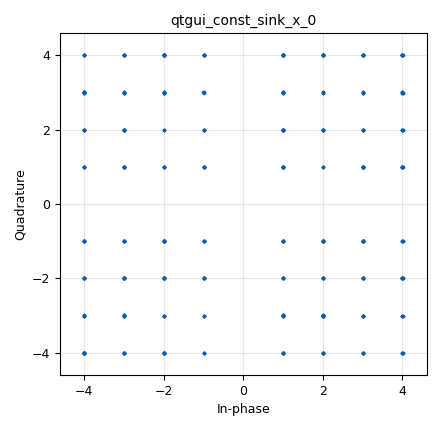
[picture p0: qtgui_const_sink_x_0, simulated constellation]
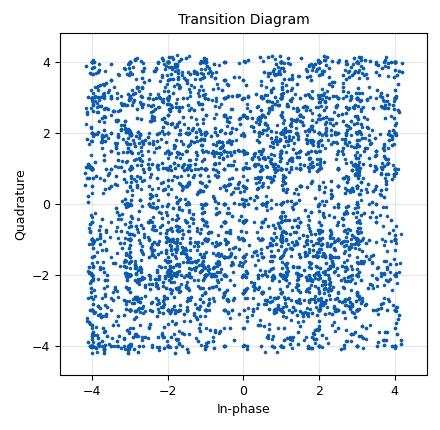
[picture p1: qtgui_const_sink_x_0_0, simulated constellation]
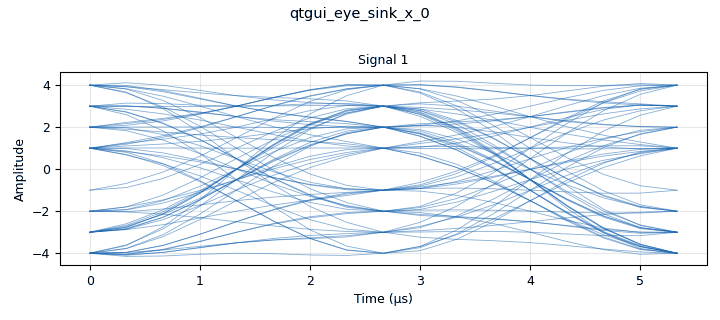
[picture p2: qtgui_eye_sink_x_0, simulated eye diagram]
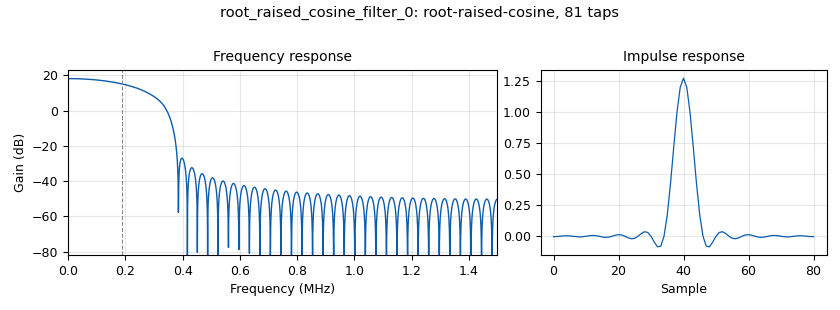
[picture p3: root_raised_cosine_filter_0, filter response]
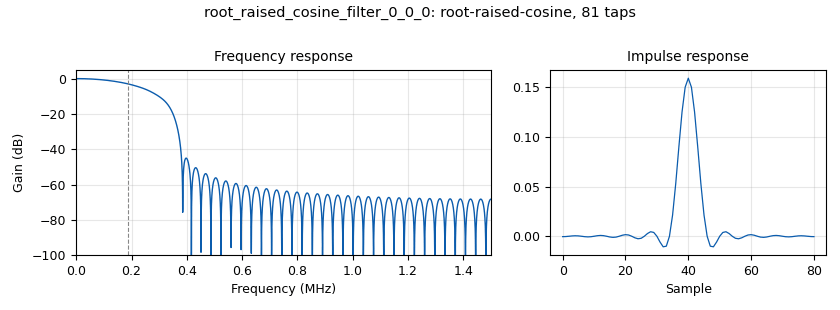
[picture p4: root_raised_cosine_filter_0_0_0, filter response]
options:
  parameters:
    generate_options: qt_gui
    id: QAM64
    output_language: python
    title: Not titled yet
  states: {}

blocks:
- name: atten
  id: variable_qtgui_range
  parameters:
    label: Attenuation
    start: '0'
    step: '.001'
    stop: '1'
    value: '1'
  states: {}
- name: carrier_freq
  id: variable
  parameters:
    value: '1000000'
  states: {}
- name: e_band
  id: variable_qtgui_range
  parameters:
    label: Excess Bandwidth
    start: '0'
    step: '.01'
    stop: '2'
    value: '1'
  states: {}
- name: excess_bw
  id: variable
  parameters:
    value: e_band
  states: {}
- name: samp_per_sym
  id: variable
  parameters:
    value: '8'
  states: {}
- name: samp_rate
  id: variable
  parameters:
    value: '3000000'
  states: {}
- name: volt
  id: variable_qtgui_range
  parameters:
    label: Channel Voltage
    start: '0'
    step: '.01'
    stop: '1'
    value: '0'
  states: {}
- name: analog_noise_source_x_0
  id: analog_noise_source_x
  parameters:
    amp: volt
    comment: Add some noise to see how it effects the signal
    noise_type: analog.GR_UNIFORM
    seed: '0'
    type: complex
  states: {}
- name: analog_random_source_x_0
  id: analog_random_source_x
  parameters:
    comment: Bits Generation
    max: '2'
    min: '0'
    num_samps: '1000'
    repeat: 'True'
    type: byte
  states: {}
- name: analog_sig_source_x_0
  id: analog_sig_source_x
  parameters:
    amp: '1'
    freq: carrier_freq
    offset: '0'
    phase: '0'
    samp_rate: samp_rate
    type: complex
    waveform: analog.GR_SIN_WAVE
  states: {}
- name: analog_sig_source_x_0_1
  id: analog_sig_source_x
  parameters:
    amp: '1'
    freq: '-carrier_freq'
    offset: '0'
    phase: '0'
    samp_rate: samp_rate
    type: complex
    waveform: analog.GR_SIN_WAVE
  states: {}
- name: blocks_add_xx_0
  id: blocks_add_xx
  parameters:
    type: complex
  states: {}
- name: blocks_char_to_float_0
  id: blocks_char_to_float
  parameters:
    scale: '1'
  states: {}
- name: blocks_char_to_float_0_0
  id: blocks_char_to_float
  parameters:
    scale: '1'
  states: {}
- name: blocks_complex_to_float_0
  id: blocks_complex_to_float
  parameters: {}
  states: {}
- name: blocks_float_to_complex_0
  id: blocks_float_to_complex
  parameters: {}
  states: {}
- name: blocks_float_to_complex_0_0
  id: blocks_float_to_complex
  parameters: {}
  states: {}
- name: blocks_float_to_complex_1
  id: blocks_float_to_complex
  parameters: {}
  states: {}
- name: blocks_keep_one_in_n_0
  id: blocks_keep_one_in_n
  parameters:
    n: samp_per_sym
    type: float
  states: {}
- name: blocks_keep_one_in_n_0_0
  id: blocks_keep_one_in_n
  parameters:
    n: samp_per_sym
    type: float
  states: {}
- name: blocks_multiply_const_vxx_0
  id: blocks_multiply_const_vxx
  parameters:
    comment: Attenuation
    const: atten
    type: complex
  states: {}
- name: blocks_multiply_xx_0
  id: blocks_multiply_xx
  parameters:
    type: complex
  states: {}
- name: blocks_multiply_xx_0_1
  id: blocks_multiply_xx
  parameters:
    type: complex
  states: {}
- name: blocks_pack_k_bits_bb_0
  id: blocks_pack_k_bits_bb
  parameters:
    k: '6'
  states: {}
- name: blocks_skiphead_0
  id: blocks_skiphead
  parameters:
    num_items: '1'
    type: float
  states: {}
- name: blocks_skiphead_0_0
  id: blocks_skiphead
  parameters:
    num_items: '1'
    type: float
  states: {}
- name: blocks_throttle2_0
  id: blocks_throttle2
  parameters:
    samples_per_second: samp_rate
    type: byte
  states: {}
- name: digital_map_bb_0
  id: digital_map_bb
  parameters:
    comment: Look-Up Table I
    map: (1,1,1,1,1,1,1,1,2,2,2,2,2,2,2,2,3,3,3,3,3,3,3,3,4,4,4,4,4,4,4,4, -1,-1,-1,-1,-1,-1,-1,-1,-2,-2,-2,-2,-2,-2,-2,-2,-3,-3,-3,-3,-3,-3,-3,-3,-4,-4,-4,-4,-4,-4,-4,-4)
  states: {}
- name: digital_map_bb_0_0
  id: digital_map_bb
  parameters:
    comment: Look-Up Table Q
    map: (1,2,3,4,-1,-2,-3,-4,1,2,3,4,-1,-2,-3,-4,1,2,3,4,-1,-2,-3,-4,1,2,3,4,-1,-2,-3,-4,1,2,3,4,-1,-2,-3,-4,1,2,3,4,-1,-2,-3,-4,1,2,3,4,-1,-2,-3,-4,1,2,3,4,-1,-2,-3,-4)
  states: {}
- name: import_0
  id: import
  parameters:
    imports: import numpy as np; import math
  states: {}
- name: interp_fir_filter_xxx_0
  id: interp_fir_filter_xxx
  parameters:
    comment: Upsampler I
    interp: samp_per_sym
    taps: (np.hstack((1,np.zeros(samp_per_sym-1))))
    type: fff
  states: {}
- name: interp_fir_filter_xxx_0_0
  id: interp_fir_filter_xxx
  parameters:
    comment: Upsampler Q
    interp: samp_per_sym
    taps: (np.hstack((1,np.zeros(samp_per_sym-1))))
    type: fff
  states: {}
- name: qtgui_const_sink_x_0
  id: qtgui_const_sink_x
  parameters:
    autoscale: 'True'
    size: '1000'
    type: complex
  states: {}
- name: qtgui_const_sink_x_0_0
  id: qtgui_const_sink_x
  parameters:
    autoscale: 'True'
    grid: 'True'
    legend: 'False'
    marker1: '-1'
    name: Transition Diagram
    size: '10000'
    style1: '1'
    type: complex
  states: {}
- name: qtgui_eye_sink_x_0
  id: qtgui_eye_sink_x
  parameters:
    autoscale: 'True'
    samp_per_symbol: samp_per_sym
    size: '1024'
    srate: samp_rate
    type: float
    update_time: '1'
  states: {}
- name: root_raised_cosine_filter_0
  id: root_raised_cosine_filter
  parameters:
    alpha: excess_bw
    comment: Pulse Shaping Filter I
    gain: samp_per_sym
    interp: '1'
    ntaps: 10*samp_per_sym+1
    samp_rate: samp_rate
    sym_rate: samp_rate/samp_per_sym
    type: interp_fir_filter_fff
  states: {}
- name: root_raised_cosine_filter_0_0
  id: root_raised_cosine_filter
  parameters:
    alpha: excess_bw
    comment: Pulse Shaping Filter Q
    gain: samp_per_sym
    interp: '1'
    ntaps: 10*samp_per_sym+1
    samp_rate: samp_rate
    sym_rate: samp_rate/samp_per_sym
    type: interp_fir_filter_fff
  states: {}
- name: root_raised_cosine_filter_0_0_0
  id: root_raised_cosine_filter
  parameters:
    alpha: excess_bw
    decim: '1'
    gain: '1'
    ntaps: 10*samp_per_sym+1
    samp_rate: samp_rate
    sym_rate: samp_rate/samp_per_sym
    type: fir_filter_fff
  states: {}
- name: root_raised_cosine_filter_0_1
  id: root_raised_cosine_filter
  parameters:
    alpha: excess_bw
    decim: '1'
    gain: '1'
    ntaps: 10*samp_per_sym+1
    samp_rate: samp_rate
    sym_rate: samp_rate/samp_per_sym
    type: fir_filter_fff
  states: {}
- name: virtual_sink_0
  id: virtual_sink
  parameters:
    stream_id: antenna_tx
  states: {}
- name: virtual_sink_1
  id: virtual_sink
  parameters:
    stream_id: antenna_rx
  states: {}
- name: virtual_source_0
  id: virtual_source
  parameters:
    stream_id: antenna_tx
  states: {}
- name: virtual_source_1
  id: virtual_source
  parameters:
    stream_id: antenna_rx
  states: {}

connections:
- [analog_noise_source_x_0, '0', blocks_add_xx_0, '1']
- [analog_random_source_x_0, '0', blocks_throttle2_0, '0']
- [analog_sig_source_x_0, '0', blocks_multiply_xx_0, '0']
- [analog_sig_source_x_0_1, '0', blocks_multiply_xx_0_1, '0']
- [blocks_add_xx_0, '0', virtual_sink_1, '0']
- [blocks_char_to_float_0, '0', interp_fir_filter_xxx_0, '0']
- [blocks_char_to_float_0_0, '0', interp_fir_filter_xxx_0_0, '0']
- [blocks_complex_to_float_0, '0', root_raised_cosine_filter_0_1, '0']
- [blocks_complex_to_float_0, '1', root_raised_cosine_filter_0_0_0, '0']
- [blocks_float_to_complex_0, '0', blocks_multiply_xx_0, '1']
- [blocks_float_to_complex_0_0, '0', qtgui_const_sink_x_0, '0']
- [blocks_float_to_complex_1, '0', qtgui_const_sink_x_0_0, '0']
- [blocks_keep_one_in_n_0, '0', blocks_float_to_complex_0_0, '0']
- [blocks_keep_one_in_n_0_0, '0', blocks_float_to_complex_0_0, '1']
- [blocks_multiply_const_vxx_0, '0', blocks_add_xx_0, '0']
- [blocks_multiply_xx_0, '0', virtual_sink_0, '0']
- [blocks_multiply_xx_0_1, '0', blocks_complex_to_float_0, '0']
- [blocks_pack_k_bits_bb_0, '0', digital_map_bb_0, '0']
- [blocks_pack_k_bits_bb_0, '0', digital_map_bb_0_0, '0']
- [blocks_skiphead_0, '0', blocks_keep_one_in_n_0, '0']
- [blocks_skiphead_0_0, '0', blocks_keep_one_in_n_0_0, '0']
- [blocks_throttle2_0, '0', blocks_pack_k_bits_bb_0, '0']
- [digital_map_bb_0, '0', blocks_char_to_float_0, '0']
- [digital_map_bb_0_0, '0', blocks_char_to_float_0_0, '0']
- [interp_fir_filter_xxx_0, '0', root_raised_cosine_filter_0, '0']
- [interp_fir_filter_xxx_0_0, '0', root_raised_cosine_filter_0_0, '0']
- [root_raised_cosine_filter_0, '0', blocks_float_to_complex_0, '0']
- [root_raised_cosine_filter_0_0, '0', blocks_float_to_complex_0, '1']
- [root_raised_cosine_filter_0_0_0, '0', blocks_float_to_complex_1, '1']
- [root_raised_cosine_filter_0_0_0, '0', blocks_skiphead_0_0, '0']
- [root_raised_cosine_filter_0_1, '0', blocks_float_to_complex_1, '0']
- [root_raised_cosine_filter_0_1, '0', blocks_skiphead_0, '0']
- [root_raised_cosine_filter_0_1, '0', qtgui_eye_sink_x_0, '0']
- [virtual_source_0, '0', blocks_multiply_const_vxx_0, '0']
- [virtual_source_1, '0', blocks_multiply_xx_0_1, '1']

metadata:
  file_format: 1
  grc_version: 3.10.10.0
